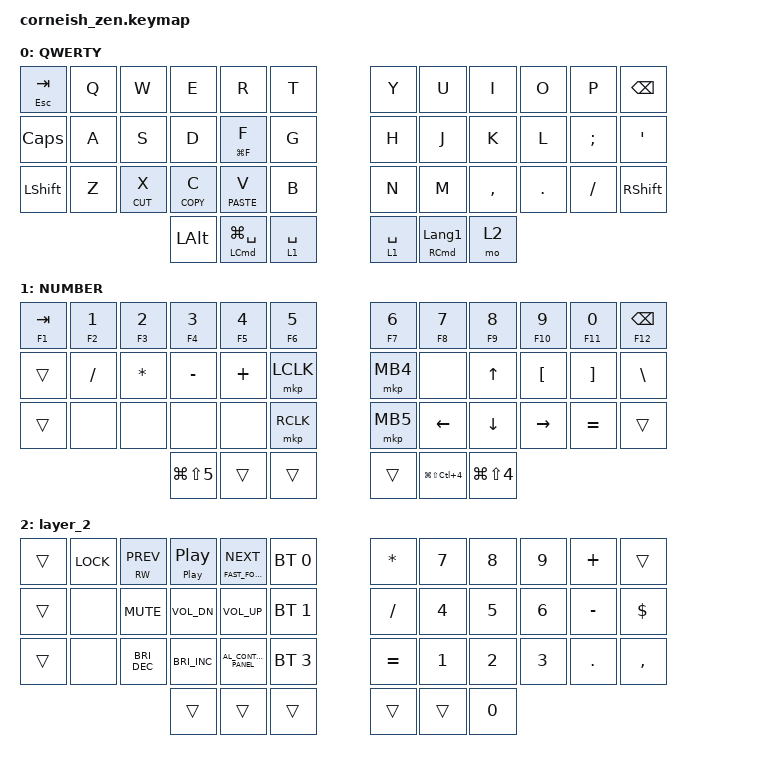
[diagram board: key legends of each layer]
/*
 * Copyright (c) 2020 The ZMK Contributors
 *
 * SPDX-License-Identifier: MIT
 */

#include <dt-bindings/zmk/mouse.h>
#include <behaviors.dtsi>
#include <dt-bindings/zmk/bt.h>
#include <dt-bindings/zmk/keys.h>
#include <dt-bindings/zmk/pointing.h>

/ {
    chosen {
        zmk,matrix_transform = &default_transform;

        // zmk,matrix_transform = &five_column_transform;
    };
};

/ {
    //  Add tri-layer behavior here

    behaviors {
        tri_layer: sl_layer {
            compatible = "urob,zmk-behavior-simple-layer";
            label = "TRI_LAYER";
            layers = <1 2>;        // These are LWR and RSE layers
            target-layer = <3>;    // Layer 3 will activate when both are held
        };
    };

    combos {
        compatible = "zmk,combos";

        Enter {
            bindings = <&kp ENTER>;
            key-positions = <21 20>;
        };

        Delete {
            bindings = <&kp DELETE>;
            key-positions = <24 11>;
        };
    };

    keymap {
        compatible = "zmk,keymap";

        layer_0 {
            display-name = "QWERTY";
            bindings = <
&mt ESC TAB     &kp Q  &kp W        &kp E         &kp R                       &kp T          &kp Y        &kp U                         &kp I      &kp O    &kp P     &kp BSPC
&kp CAPSLOCK    &kp A  &kp S        &kp D         &mt LG(F) F                 &kp G          &kp H        &kp J                         &kp K      &kp L    &kp SEMI  &kp SQT
&kp LEFT_SHIFT  &kp Z  &mt K_CUT X  &mt K_COPY C  &mt K_PASTE V               &kp B          &kp N        &kp M                         &kp COMMA  &kp DOT  &kp FSLH  &kp RIGHT_SHIFT
                                    &kp LEFT_ALT  &mt LEFT_COMMAND LG(SPACE)  &lt 1 SPACE    &lt 1 SPACE  &mt RIGHT_COMMAND LANGUAGE_1  &mo 2
            >;
        };

        layer_1 {
            display-name = "NUMBER";
            bindings = <
&mt F1 TAB  &mt F2 NUMBER_1  &mt F3 NUMBER_2  &mt F4 NUMBER_3  &mt F5 NUMBER_4  &mt F6 N5    &mt F7 NUMBER_6  &mt F8 N7                 &mt F9 N8             &mt F10 N9        &mt F11 N0         &mt F12 BACKSPACE
&trans      &kp SLASH        &kp ASTERISK     &kp MINUS        &kp PLUS         &mkp LCLK    &mkp MB4         &none                     &kp UP_ARROW          &kp LEFT_BRACKET  &kp RIGHT_BRACKET  &kp BACKSLASH
&trans      &none            &none            &none            &none            &mkp RCLK    &mkp MB5         &kp LEFT                  &kp DOWN              &kp RIGHT         &kp EQUAL          &trans
                                              &kp LG(LS(N5))   &trans           &trans       &trans           &kp LG(LS(LC(NUMBER_4)))  &kp LG(LS(NUMBER_4))
            >;
        };

        layer_2 {
            bindings = <
&trans  &kp K_LOCK  &mt C_RW C_PREV       &mt C_PP C_PP         &mt C_FAST_FORWARD C_NEXT  &bt BT_SEL 0    &kp ASTERISK  &kp N7        &kp N8        &kp N9        &kp PLUS    &trans
&trans  &none       &kp K_MUTE            &kp C_VOL_DN          &kp C_VOLUME_UP            &bt BT_SEL 1    &kp SLASH     &kp NUMBER_4  &kp N5        &kp NUMBER_6  &kp MINUS   &kp DOLLAR
&trans  &none       &kp C_BRIGHTNESS_DEC  &kp C_BRIGHTNESS_INC  &kp C_AL_CONTROL_PANEL     &bt BT_SEL 3    &kp EQUAL     &kp NUMBER_1  &kp NUMBER_2  &kp NUMBER_3  &kp PERIOD  &kp COMMA
                                          &trans                &trans                     &trans          &trans        &trans        &kp N0
            >;
        };
    };

    conditional_layers { compatible = "zmk,conditional-layers"; };
};
